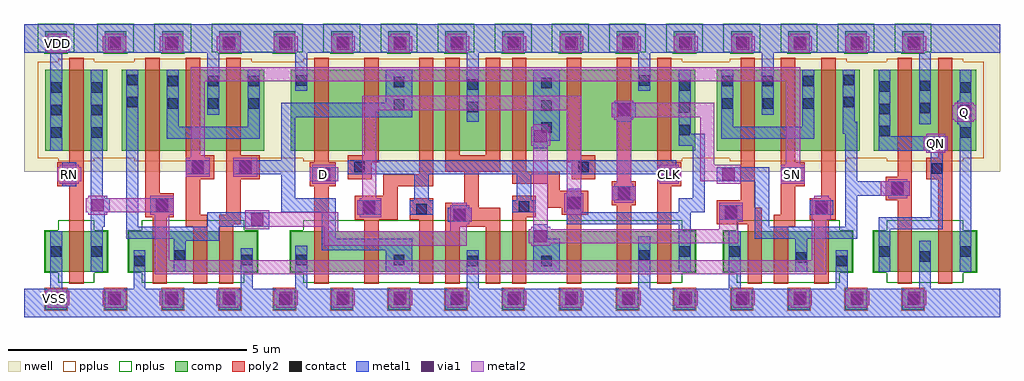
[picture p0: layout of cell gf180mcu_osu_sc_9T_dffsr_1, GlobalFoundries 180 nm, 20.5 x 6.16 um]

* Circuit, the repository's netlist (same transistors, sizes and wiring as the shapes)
* Copyright 2022 Google LLC
*
* Licensed under the Apache License, Version 2.0 (the "License");
* you may not use this file except in compliance with the License.
* You may obtain a copy of the License at
*
*      http://www.apache.org/licenses/LICENSE-2.0
*
* Unless required by applicable law or agreed to in writing, software
* distributed under the License is distributed on an "AS IS" BASIS,
* WITHOUT WARRANTIES OR CONDITIONS OF ANY KIND, either express or implied.
* See the License for the specific language governing permissions and
* limitations under the License.

.option scale=0.05u

.subckt gf180mcu_osu_sc_9T_dffsr_1 D Q QN CLK RN SN
X0 a_172_70 a_139_41 a_82_14 VDD pmos_3p3 w=34 l=6
X1 a_247_47 a_25_19 a_291_70 VDD pmos_3p3 w=34 l=6
X2 VSS a_41_70 a_172_19 VSS nmos_3p3 w=17 l=6
X3 VDD a_41_70 a_172_70 VDD pmos_3p3 w=34 l=6
X4 VSS a_247_47 a_234_19 VSS nmos_3p3 w=17 l=6
X5 VDD a_247_47 a_234_70 VDD pmos_3p3 w=34 l=6
X6 a_41_70 a_25_19 VSS VSS nmos_3p3 w=17 l=6
X7 a_128_19 D VSS VSS nmos_3p3 w=17 l=6
X8 VSS a_247_47 QN VSS nmos_3p3 w=17 l=6
X9 a_310_19 a_211_19 VSS VSS nmos_3p3 w=17 l=6
X10 a_25_19 RN VSS VSS nmos_3p3 w=17 l=6
X11 a_128_70 D VDD VDD pmos_3p3 w=34 l=6
X12 VDD a_247_47 QN VDD pmos_3p3 w=34 l=6
X13 VDD SN a_57_70 VDD pmos_3p3 w=34 l=6
X14 a_200_19 a_41_70 VSS VSS nmos_3p3 w=17 l=6
X15 a_247_47 SN a_310_19 VSS nmos_3p3 w=17 l=6
X16 a_25_19 RN VDD VDD pmos_3p3 w=34 l=6
X17 a_57_70 a_25_19 a_41_70 VDD pmos_3p3 w=34 l=6
X18 a_291_70 SN VDD VDD pmos_3p3 w=34 l=6
X19 a_211_19 CLK a_200_19 VSS nmos_3p3 w=17 l=6
X20 a_200_70 a_41_70 VDD VDD pmos_3p3 w=34 l=6
X21 VDD a_211_19 a_291_70 VDD pmos_3p3 w=34 l=6
X22 a_82_14 a_139_41 a_128_19 VSS nmos_3p3 w=17 l=6
X23 a_139_41 CLK VSS VSS nmos_3p3 w=17 l=6
X24 a_211_19 a_139_41 a_200_70 VDD pmos_3p3 w=34 l=6
X25 a_82_14 CLK a_128_70 VDD pmos_3p3 w=34 l=6
X26 a_139_41 CLK VDD VDD pmos_3p3 w=34 l=6
X27 a_77_19 SN a_41_70 VSS nmos_3p3 w=17 l=6
X28 Q QN VSS VSS nmos_3p3 w=17 l=6
X29 a_234_19 a_139_41 a_211_19 VSS nmos_3p3 w=17 l=6
X30 a_172_19 CLK a_82_14 VSS nmos_3p3 w=17 l=6
X31 Q QN VDD VDD pmos_3p3 w=34 l=6
X32 VSS a_82_14 a_77_19 VSS nmos_3p3 w=17 l=6
X33 a_57_70 a_82_14 VDD VDD pmos_3p3 w=34 l=6
X34 a_234_70 CLK a_211_19 VDD pmos_3p3 w=34 l=6
X35 VSS a_25_19 a_247_47 VSS nmos_3p3 w=17 l=6
.ends

** hspice subcircuit dictionary

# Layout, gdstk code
import gdstk
lib = gdstk.Library(unit=1e-6, precision=1e-09)
def R(c, l, rs):  # rectangles x0, y0, x1, y1
    for r in rs: c.add(gdstk.rectangle(r[:2], r[2:], *l))
def A(c, l, x, y, w, h, nx, ny, dx, dy):  # array of equal rectangles
    R(c, l, [(x+i*dx, y+j*dy, x+i*dx+w, y+j*dy+h) for i in range(nx) for j in range(ny)])
nwell = (21, 0)
comp = (22, 0)
poly2 = (30, 0)
pplus = (31, 0)
nplus = (32, 0)
contact = (33, 0)
metal1 = (34, 0)
via1 = (35, 0)
metal2 = (36, 0)

gf180mcu_osu_sc_9t_dffsr = lib.new_cell('gf180mcu_osu_sc_9T_dffsr_1')
R(gf180mcu_osu_sc_9t_dffsr, nwell, [(0,3.05,20.5,6.15)])
A(gf180mcu_osu_sc_9t_dffsr, comp, 1.7, 0.15, 0.45, 0.45, 3, 2, 1.2, 5.4)
A(gf180mcu_osu_sc_9t_dffsr, comp, 5.25, 0.15, 0.45, 0.45, 12, 2, 1.2, 5.4)
R(gf180mcu_osu_sc_9t_dffsr, comp, [(0.45,0.15,0.9,0.6), (0.45,0.95,1.75,1.8), (2.2,0.95,4.9,1.8), (5.6,0.95,14.1,1.8), (14.7,0.95,17.4,1.8), (17.85,0.95,20,1.8), (0.45,3.5,1.75,5.2), (2.05,3.5,5.05,5.2), (5.6,3.5,14.1,5.2), (14.55,3.5,17.55,5.2), (17.85,3.5,20,5.2), (0.45,5.55,0.9,6)])
R(gf180mcu_osu_sc_9t_dffsr, poly2, [(0.95,0.7,1.25,2.75), (2.7,0.7,3,2.1), (3.55,0.7,3.85,1.9), (4.1,0.7,4.4,1.95), (6.1,0.7,6.4,2.75), (7.15,0.7,7.45,2.05), (8.3,0.7,8.6,2.05), (8.85,0.7,9.15,1.9), (9.7,0.7,10,1.9), (10.25,0.7,10.55,2.1), (11.4,0.7,11.7,2.15), (12.45,0.7,12.75,2.35), (13.3,0.7,13.6,2.75), (15.2,0.7,15.5,1.95), (15.75,0.7,16.05,1.9), (16.6,0.7,16.9,2.05), (18.35,0.7,18.65,2.45), (19.2,0.7,19.5,2.9), (3.4,1.9,3.85,2.15), (8.85,1.9,10,2.3), (15.75,1.9,16.2,2.15), (4.1,1.95,4.55,2.15), (14.55,1.95,15.5,2.3), (6.95,2.05,7.85,2.55), (8.1,2.05,8.6,2.5), (16.5,2.05,17.05,2.5), (2.55,2.1,3.15,2.6), (10.25,2.1,10.75,2.55), (3.4,2.15,3.7,2.9), (4.25,2.15,4.55,2.9), (11.3,2.15,11.85,2.3), (15.9,2.15,16.2,2.75), (8.85,2.3,9.55,2.4), (11,2.3,11.85,2.65), (14.55,2.3,15.35,2.45), (12.35,2.35,12.85,2.85), (9.25,2.4,9.55,3.05), (15.05,2.45,15.35,5.45), (18.1,2.45,18.65,2.95), (16.75,2.5,17.05,5.45), (7.55,2.55,7.85,2.75), (2.55,2.6,2.85,5.45), (11,2.65,11.25,2.8), (0.7,2.75,1.25,3.25), (6,2.75,6.55,3.25), (7.55,2.75,8.6,3), (13.3,2.75,13.8,3.25), (15.9,2.75,16.4,3.25), (10.25,2.8,11.25,3.05), (12.45,2.85,12.75,5.45), (3.4,2.9,4,3.4), (4.25,2.9,4.95,3.4), (6.8,2.9,7.3,3.25), (11.5,2.9,12,3.25), (18.95,2.9,19.5,3.35), (18.35,2.95,18.65,5.45), (8.3,3,8.6,5.45), (8.85,3.05,10,3.4), (10.25,3.05,10.55,5.45), (0.95,3.25,1.25,5.45), (6.1,3.25,6.4,5.45), (6.8,3.25,7.45,3.4), (11.4,3.25,12,3.4), (13.3,3.25,13.6,5.45), (15.9,3.25,16.2,5.45), (19.2,3.35,19.5,5.45), (3.4,3.4,3.7,5.45), (4.25,3.4,4.55,5.45), (7.15,3.4,7.45,5.45), (8.85,3.4,9.15,5.45), (9.7,3.4,10,5.45), (11.4,3.4,11.7,5.45)])
A(gf180mcu_osu_sc_9t_dffsr, pplus, 1.68, 0.13, 0.49, 0.49, 3, 1, 1.2, 0)
A(gf180mcu_osu_sc_9t_dffsr, pplus, 5.23, 0.13, 0.49, 0.49, 12, 1, 1.2, 0)
R(gf180mcu_osu_sc_9t_dffsr, pplus, [(0.43,0.13,0.92,0.62), (0.72,3.27,1.48,3.34), (2.32,3.27,4.78,3.34), (5.87,3.27,13.83,3.34), (14.82,3.27,17.28,3.34), (18.12,3.27,19.73,3.34), (0.29,3.34,20.16,5.36), (0.72,5.36,1.48,5.43), (2.32,5.36,4.78,5.43), (5.87,5.36,13.83,5.43), (14.82,5.36,17.28,5.43), (18.12,5.36,19.73,5.43)])
A(gf180mcu_osu_sc_9t_dffsr, nplus, 1.68, 5.53, 0.49, 0.03, 3, 1, 1.2, 0)
A(gf180mcu_osu_sc_9t_dffsr, nplus, 5.23, 5.53, 0.49, 0.03, 12, 1, 1.2, 0)
A(gf180mcu_osu_sc_9t_dffsr, nplus, 6.29, 5.56, 0.77, 0.6, 11, 1, 1.2, 0)
R(gf180mcu_osu_sc_9t_dffsr, nplus, [(0.72,0.72,1.48,0.93), (2.47,0.72,4.63,0.93), (5.87,0.72,13.83,0.93), (14.97,0.72,17.13,0.93), (18.12,0.72,19.73,0.93), (0.43,0.93,1.77,1.82), (2.18,0.93,4.92,1.82), (5.58,0.93,14.12,1.82), (14.68,0.93,17.42,1.82), (17.83,0.93,20.02,1.82), (0.72,1.82,1.48,2.03), (2.47,1.82,4.63,2.03), (5.87,1.82,13.83,2.03), (14.97,1.82,17.13,2.03), (18.12,1.82,19.73,2.03), (0.43,5.53,0.92,5.56), (0.29,5.56,1.06,6.16), (1.54,5.56,2.31,6.16), (2.74,5.56,3.51,6.16), (3.94,5.56,5.86,6.16)])
A(gf180mcu_osu_sc_9t_dffsr, contact, 1.815, 0.265, 0.22, 0.22, 3, 2, 1.2, 5.4)
A(gf180mcu_osu_sc_9t_dffsr, contact, 5.365, 0.265, 0.22, 0.22, 12, 2, 1.2, 5.4)
A(gf180mcu_osu_sc_9t_dffsr, contact, 0.565, 3.77, 0.22, 0.22, 1, 3, 0, 0.47)
A(gf180mcu_osu_sc_9t_dffsr, contact, 1.415, 3.77, 0.22, 0.22, 1, 3, 0, 0.47)
A(gf180mcu_osu_sc_9t_dffsr, contact, 19.665, 3.77, 0.22, 0.22, 1, 3, 0, 0.47)
A(gf180mcu_osu_sc_9t_dffsr, contact, 17.965, 3.795, 0.22, 0.22, 1, 3, 0, 0.47)
A(gf180mcu_osu_sc_9t_dffsr, contact, 13.765, 3.82, 0.22, 0.22, 1, 3, 0, 0.47)
A(gf180mcu_osu_sc_9t_dffsr, contact, 10.865, 3.87, 0.22, 0.22, 1, 3, 0, 0.47)
A(gf180mcu_osu_sc_9t_dffsr, contact, 3.015, 4.38, 0.22, 0.22, 3, 2, 0.85, 0.47)
A(gf180mcu_osu_sc_9t_dffsr, contact, 14.665, 4.38, 0.22, 0.22, 3, 2, 0.85, 0.47)
R(gf180mcu_osu_sc_9t_dffsr, contact, [(0.565,0.265,0.785,0.485), (2.315,1.065,2.535,1.285), (9.315,1.065,9.535,1.285), (10.865,1.065,11.085,1.285), (17.065,1.065,17.285,1.285), (4.565,1.09,4.785,1.31), (5.715,1.09,5.935,1.31), (7.765,1.09,7.985,1.31), (16.215,1.14,16.435,1.36), (18.815,1.165,19.035,1.385), (3.165,1.19,3.385,1.41), (12.915,1.19,13.135,1.41), (0.565,1.265,0.785,1.485), (1.415,1.265,1.635,1.485), (13.765,1.265,13.985,1.485), (14.815,1.265,15.035,1.485), (17.965,1.265,18.185,1.485), (19.665,1.265,19.885,1.485), (9.04,2.04,9.26,2.26), (14.74,2.09,14.96,2.31), (8.24,2.165,8.46,2.385), (16.64,2.165,16.86,2.385), (7.14,2.19,7.36,2.41), (10.39,2.215,10.61,2.435), (2.79,2.24,3.01,2.46), (11.44,2.29,11.66,2.51), (12.49,2.49,12.71,2.71), (18.24,2.59,18.46,2.81), (0.84,2.89,1.06,3.11), (6.19,2.89,6.41,3.11), (13.44,2.89,13.66,3.11), (16.04,2.89,16.26,3.11), (19.065,3.015,19.285,3.235), (3.54,3.04,3.76,3.26), (4.54,3.04,4.76,3.26), (6.94,3.04,7.16,3.26), (11.64,3.04,11.86,3.26), (18.815,4.28,19.035,4.5), (9.315,4.305,9.535,4.525), (7.765,4.355,7.985,4.575), (2.165,4.405,2.385,4.625), (17.215,4.405,17.435,4.625), (18.815,4.75,19.035,4.97), (9.315,4.775,9.535,4.995), (7.765,4.825,7.985,5.045), (5.715,4.865,5.935,5.085), (12.915,4.865,13.135,5.085), (2.165,4.875,2.385,5.095), (17.215,4.875,17.435,5.095), (0.565,5.665,0.785,5.885)])
R(gf180mcu_osu_sc_9t_dffsr, metal1, [(0,0,20.5,0.6), (0.55,0.6,0.8,1.8), (2.3,0.6,2.55,1.4), (4.55,0.6,4.8,1.45), (5.7,0.6,5.95,1.5), (9.3,0.6,9.55,1.4), (12.9,0.6,13.15,1.7), (14.8,0.6,15.05,1.8), (17.05,0.6,17.3,1.4), (18.8,0.6,19.05,1.6), (1.4,0.95,1.65,1.9), (3.15,0.95,3.4,1.6), (7.6,0.95,8.15,1.4), (10.7,0.95,11.25,1.65), (13.75,0.95,14,1.95), (16.2,0.95,16.45,1.65), (17.95,0.95,18.2,1.85), (19.65,0.95,19.9,4.05), (6.25,1.4,8.15,1.65), (3.15,1.6,4.1,1.65), (2.15,1.65,4.1,1.9), (6.25,1.65,6.55,2.2), (10.7,1.65,11,1.95), (15.35,1.65,17.5,1.9), (17.95,1.85,19.3,2.1), (1.4,1.9,1.7,2.2), (2.15,1.9,2.4,5.2), (3.85,1.9,5.15,2.2), (15.35,1.9,15.65,2.85), (17.25,1.9,17.5,2.55), (11.4,1.95,14,2.2), (8.9,2,9.4,2.3), (14.6,2.05,15.1,2.35), (19.05,2.1,19.3,3.45), (7,2.15,7.5,2.45), (8.1,2.15,8.6,2.45), (16.5,2.15,17,2.45), (1.4,2.2,1.8,2.5), (2.65,2.2,3.15,2.5), (5.4,2.2,6.55,2.5), (10.25,2.2,10.75,2.45), (11.4,2.2,11.7,2.7), (13.75,2.2,14.3,2.5), (9,2.3,9.3,2.35), (8.2,2.45,8.5,3), (10.35,2.45,10.65,3), (12.35,2.45,12.85,2.75), (1.4,2.5,1.7,2.55), (5.4,2.5,5.7,3), (14.05,2.5,14.3,3.6), (1.4,2.55,1.65,5.2), (17.25,2.55,18.6,2.85), (0.8,2.75,1.1,3.25), (6.05,2.85,6.55,3.15), (13.3,2.85,13.8,3), (14.55,2.85,15.65,3.15), (15.9,2.85,16.4,3.15), (17.25,2.85,17.5,3.85), (3.4,3,3.9,3.3), (4.4,3,5.7,3.3), (6.8,3,13.8,3.15), (6.8,3.15,13.7,3.3), (5.4,3.3,5.7,4.2), (19,3.45,19.3,3.5), (0.55,3.5,0.8,5.55), (17.95,3.5,19.4,3.8), (10.7,3.55,11,3.7), (13.75,3.6,14.3,3.85), (10.7,3.7,11.25,5.2), (3,3.75,4.95,4), (14.65,3.75,16.6,4), (17.95,3.8,18.2,5.2), (13.75,3.85,14,5.2), (17.2,3.85,17.5,4.1), (3,4,3.25,5.2), (4.7,4,4.95,5.2), (14.65,4,14.9,5.2), (16.35,4,16.6,5.2), (18.8,4.05,19.05,5.55), (19.6,4.05,19.9,4.55), (9.3,4.1,9.55,5.55), (12.45,4.1,12.75,4.2), (17.2,4.1,17.45,5.2), (5.4,4.2,8.15,4.5), (12.35,4.2,12.85,4.5), (3.85,4.25,4.1,5.55), (15.5,4.25,15.75,5.55), (7.6,4.5,8.15,5.2), (19.65,4.55,19.9,5.2), (5.7,4.75,5.95,5.55), (12.9,4.75,13.15,5.55), (0,5.55,20.5,6.15)])
A(gf180mcu_osu_sc_9t_dffsr, via1, 0.57, 0.27, 0.26, 0.26, 16, 2, 1.2, 5.35)
R(gf180mcu_osu_sc_9t_dffsr, via1, [(10.72,1.57,10.98,1.83), (4.77,1.92,5.03,2.18), (9.02,2.02,9.28,2.28), (14.72,2.07,14.98,2.33), (7.12,2.17,7.38,2.43), (16.62,2.17,16.88,2.43), (1.42,2.22,1.68,2.48), (2.77,2.22,3.03,2.48), (11.42,2.27,11.68,2.53), (12.47,2.47,12.73,2.73), (18.22,2.57,18.48,2.83), (0.82,2.87,1.08,3.13), (6.17,2.87,6.43,3.13), (13.42,2.87,13.68,3.13), (14.67,2.87,14.93,3.13), (16.02,2.87,16.28,3.13), (3.52,3.02,3.78,3.28), (4.52,3.02,4.78,3.28), (19.02,3.52,19.28,3.78), (10.72,3.67,10.98,3.93), (19.62,4.17,19.88,4.43), (12.47,4.22,12.73,4.48)])
A(gf180mcu_osu_sc_9t_dffsr, metal2, 0.5, 0.2, 0.4, 0.05, 16, 2, 1.2, 0.35)
A(gf180mcu_osu_sc_9t_dffsr, metal2, 0.45, 0.25, 0.5, 0.3, 16, 2, 1.2, 5.35)
A(gf180mcu_osu_sc_9t_dffsr, metal2, 0.5, 5.55, 0.4, 0.05, 16, 2, 1.2, 0.35)
R(gf180mcu_osu_sc_9t_dffsr, metal2, [(2.75,0.9,16.85,1.2), (2.75,1.2,3.05,2.15), (16.55,1.2,16.85,2.05), (6.3,1.5,9.3,1.8), (10.65,1.5,11.05,1.55), (10.6,1.55,15,1.85), (6.3,1.8,6.6,1.9), (8.95,1.8,9.3,1.95), (4.65,1.85,5.15,1.9), (10.65,1.85,11.05,1.9), (14.6,1.85,15,2), (4.65,1.9,6.6,2.2), (10.7,1.9,11,3.6), (8.95,1.95,9.35,2), (8.95,2,9.4,2.3), (14.6,2,15.1,2.4), (16.55,2.05,16.95,2.5), (7.05,2.1,7.5,2.15), (1.35,2.15,1.75,2.2), (2.65,2.15,3.15,2.2), (7,2.15,7.5,2.45), (11.4,2.15,11.7,2.2), (1.3,2.2,3.15,2.5), (4.65,2.2,5.15,2.25), (11.35,2.2,11.75,2.6), (8.95,2.3,9.35,2.35), (9,2.35,9.3,2.4), (12.4,2.4,12.8,2.45), (7.05,2.45,7.5,2.5), (12.35,2.45,12.85,2.75), (1.35,2.5,1.75,2.55), (2.65,2.5,3.15,2.55), (7.1,2.5,7.4,4.35), (16.6,2.5,16.9,2.55), (18.15,2.5,18.55,2.55), (18,2.55,18.6,2.85), (11.4,2.6,11.7,4.35), (12.4,2.75,12.8,2.8), (0.75,2.8,1.15,2.85), (6.05,2.8,6.55,2.85), (12.45,2.8,12.75,4.15), (13.35,2.8,13.75,2.85), (14.55,2.8,15.05,2.85), (15.9,2.8,16.4,3.2), (0.7,2.85,1.2,3.15), (6,2.85,6.6,3.15), (13.3,2.85,13.8,3.15), (14.2,2.85,15.05,3.2), (18.15,2.85,18.55,2.9), (3.4,2.95,3.9,3.35), (4.4,2.95,4.9,3.35), (0.75,3.15,1.15,3.2), (6.05,3.15,6.55,3.2), (13.35,3.15,13.75,3.2), (14.2,3.2,14.5,4.2), (16,3.2,16.3,4.95), (3.5,3.35,3.8,4.95), (18.95,3.45,19.35,3.5), (18.9,3.5,19.4,3.8), (10.65,3.6,11.05,4), (18.95,3.8,19.35,3.85), (10.7,4,11,4.05), (19.55,4.1,19.95,4.15), (12.4,4.15,12.8,4.2), (19.5,4.15,20,4.45), (12.35,4.2,14.5,4.5), (7.1,4.35,11.7,4.65), (19.55,4.45,19.95,4.5), (12.4,4.5,12.8,4.55), (3.5,4.95,16.3,5.25)])
gf180mcu_osu_sc_9t_dffsr.add(gdstk.Label('VSS', (0.65,0.4), layer=36, texttype=0))
gf180mcu_osu_sc_9t_dffsr.add(gdstk.Label('VDD', (0.7,5.75), layer=36, texttype=0))
gf180mcu_osu_sc_9t_dffsr.add(gdstk.Label('D', (6.3,3), layer=36, texttype=10))
gf180mcu_osu_sc_9t_dffsr.add(gdstk.Label('Q', (19.75,4.3), layer=36, texttype=10))
gf180mcu_osu_sc_9t_dffsr.add(gdstk.Label('QN', (19.15,3.65), layer=36, texttype=10))
gf180mcu_osu_sc_9t_dffsr.add(gdstk.Label('CLK', (13.55,3), layer=36, texttype=10))
gf180mcu_osu_sc_9t_dffsr.add(gdstk.Label('RN', (0.95,3), layer=36, texttype=10))
gf180mcu_osu_sc_9t_dffsr.add(gdstk.Label('SN', (16.15,3), layer=36, texttype=10))

lib.write_gds('gf180mcu_osu_sc_9T_dffsr_1.gds')
